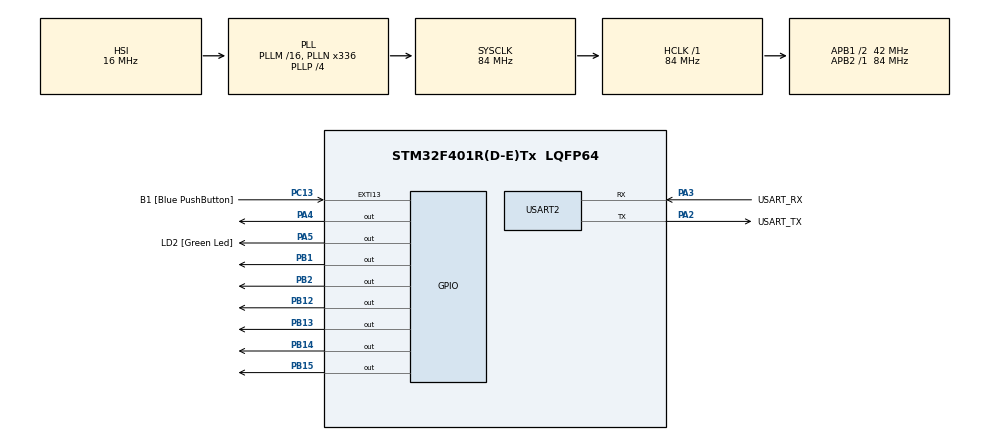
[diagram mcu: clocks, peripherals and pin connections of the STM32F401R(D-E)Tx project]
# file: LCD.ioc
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Mcu.Family=STM32F4
Mcu.Name=STM32F401R(D-E)Tx
Mcu.Package=LQFP64
NVIC.PriorityGroup=NVIC_PRIORITYGROUP_4
PA13.GPIO_Label=TMS
PA13.Mode=Trace_Asynchronous_SW
PA13.Signal=SYS_JTMS-SWDIO
PA14.GPIO_Label=TCK
PA14.Mode=Trace_Asynchronous_SW
PA14.Signal=SYS_JTCK-SWCLK
PA2.GPIO_Label=USART_TX
PA2.GPIO_Mode=GPIO_MODE_AF_PP
PA2.GPIO_PuPd=GPIO_NOPULL
PA2.GPIO_Speed=GPIO_SPEED_FREQ_LOW
PA2.Mode=Asynchronous
PA2.Signal=USART2_TX
PA3.GPIO_Label=USART_RX
PA3.GPIO_Mode=GPIO_MODE_AF_PP
PA3.GPIO_PuPd=GPIO_NOPULL
PA3.GPIO_Speed=GPIO_SPEED_FREQ_LOW
PA3.Mode=Asynchronous
PA3.Signal=USART2_RX
PA4.Signal=GPIO_Output
PA5.GPIO_Label=LD2 [Green Led]
PA5.GPIO_Mode=GPIO_MODE_OUTPUT_PP
PA5.GPIO_PuPd=GPIO_NOPULL
PA5.GPIO_Speed=GPIO_SPEED_FREQ_LOW
PA5.Signal=GPIO_Output
PB1.Signal=GPIO_Output
PB12.Signal=GPIO_Output
PB13.Signal=GPIO_Output
PB14.Signal=GPIO_Output
PB15.Signal=GPIO_Output
PB2.Signal=GPIO_Output
PB3.GPIO_Label=SWO
PB3.Mode=Trace_Asynchronous_SW
PB3.Signal=SYS_JTDO-SWO
PC13-ANTI_TAMP.GPIO_Label=B1 [Blue PushButton]
PC13-ANTI_TAMP.GPIO_ModeDefaultEXTI=GPIO_MODE_IT_FALLING
PC13-ANTI_TAMP.GPIO_PuPd=GPIO_NOPULL
PC13-ANTI_TAMP.Signal=GPXTI13
PC14-OSC32_IN.Mode=LSE-External-Oscillator
PC14-OSC32_IN.Signal=RCC_OSC32_IN
PC15-OSC32_OUT.Mode=LSE-External-Oscillator
PC15-OSC32_OUT.Signal=RCC_OSC32_OUT
PH0\ -\ OSC_IN.Mode=HSE-External-Clock-Source
PH0\ -\ OSC_IN.Signal=RCC_OSC_IN
PH1\ -\ OSC_OUT.Mode=HSE-External-Clock-Source
PH1\ -\ OSC_OUT.Signal=RCC_OSC_OUT
ProjectManager.HeapSize=0x200
ProjectManager.StackSize=0x400
ProjectManager.TargetToolchain=STM32CubeIDE
RCC.48MHZClocksFreq_Value=48000000
RCC.AHBFreq_Value=84000000
RCC.APB1CLKDivider=RCC_HCLK_DIV2
RCC.APB1Freq_Value=42000000
RCC.APB1TimFreq_Value=84000000
RCC.APB2Freq_Value=84000000
RCC.APB2TimFreq_Value=84000000
RCC.CortexFreq_Value=84000000
RCC.HCLKFreq_Value=84000000
RCC.HSE_VALUE=8000000
RCC.HSI_VALUE=16000000
RCC.PLLN=336
RCC.PLLP=RCC_PLLP_DIV4
RCC.PLLQ=7
RCC.SYSCLKFreq_VALUE=84000000
RCC.SYSCLKSource=RCC_SYSCLKSOURCE_PLLCLK
RCC.VCOOutputFreq_Value=336000000
USART2.VirtualMode=VM_ASYNC
board=NUCLEO-F401RE

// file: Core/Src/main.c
/* USER CODE BEGIN Header */
/**
  ******************************************************************************
  * @file           : main.c
  * @brief          : Main program body
  ******************************************************************************
  * @attention
  *
  * Copyright (c) 2025 STMicroelectronics.
  * All rights reserved.
  *
  * This software is licensed under terms that can be found in the LICENSE file
  * in the root directory of this software component.
  * If no LICENSE file comes with this software, it is provided AS-IS.
  *
  ******************************************************************************
  */
/* USER CODE END Header */
#include "main.h"
#include "PMDB16_LCD.h"
#include <string.h>

UART_HandleTypeDef huart2;

void SystemClock_Config(void);
static void MX_GPIO_Init(void);
static void MX_USART2_UART_Init(void);

int main(void)
{

  /* USER CODE BEGIN 1 */
	char nomi[4][20] = {
	    "Mattia",
	    "Pietro",
	    "Lorenzo",
	    "Francesca"
	};
	int i;
  /* USER CODE END 1 */

  /* MCU Configuration--------------------------------------------------------*/

  /* Reset of all peripherals, Initializes the Flash interface and the Systick. */
  HAL_Init();

  /* Configure the system clock */
  SystemClock_Config();

  /* Initialize all configured peripherals */
  MX_GPIO_Init();
  MX_USART2_UART_Init();

  /* Infinite loop */
  /* USER CODE BEGIN WHILE */
  lcd_initialize();
  lcd_backlight_ON();

  while (1)
  {
	 for (i=0; i<4; i++){
		 lcd_println(nomi[i], 0);
		 if (i==3){
			 lcd_println(nomi[0], 1);
		 }
		 else {
			 lcd_println(nomi[i+1], 1);
		 }
		 HAL_Delay(1000);
	 }
    /* USER CODE END WHILE */

  }
}

void SystemClock_Config(void)
{
  RCC_OscInitTypeDef RCC_OscInitStruct = {0};
  RCC_ClkInitTypeDef RCC_ClkInitStruct = {0};

  /** Configure the main internal regulator output voltage
  */
  __HAL_RCC_PWR_CLK_ENABLE();
  __HAL_PWR_VOLTAGESCALING_CONFIG(PWR_REGULATOR_VOLTAGE_SCALE2);

  /** Initializes the RCC Oscillators according to the specified parameters
  * in the RCC_OscInitTypeDef structure.
  */
  RCC_OscInitStruct.OscillatorType = RCC_OSCILLATORTYPE_HSI;
  RCC_OscInitStruct.HSIState = RCC_HSI_ON;
  RCC_OscInitStruct.HSICalibrationValue = RCC_HSICALIBRATION_DEFAULT;
  RCC_OscInitStruct.PLL.PLLState = RCC_PLL_ON;
  RCC_OscInitStruct.PLL.PLLSource = RCC_PLLSOURCE_HSI;
  RCC_OscInitStruct.PLL.PLLM = 16;
  RCC_OscInitStruct.PLL.PLLN = 336;
  RCC_OscInitStruct.PLL.PLLP = RCC_PLLP_DIV4;
  RCC_OscInitStruct.PLL.PLLQ = 7;
  if (HAL_RCC_OscConfig(&RCC_OscInitStruct) != HAL_OK)
  {
    Error_Handler();
  }

  /** Initializes the CPU, AHB and APB buses clocks
  */
  RCC_ClkInitStruct.ClockType = RCC_CLOCKTYPE_HCLK|RCC_CLOCKTYPE_SYSCLK
                              |RCC_CLOCKTYPE_PCLK1|RCC_CLOCKTYPE_PCLK2;
  RCC_ClkInitStruct.SYSCLKSource = RCC_SYSCLKSOURCE_PLLCLK;
  RCC_ClkInitStruct.AHBCLKDivider = RCC_SYSCLK_DIV1;
  RCC_ClkInitStruct.APB1CLKDivider = RCC_HCLK_DIV2;
  RCC_ClkInitStruct.APB2CLKDivider = RCC_HCLK_DIV1;

  if (HAL_RCC_ClockConfig(&RCC_ClkInitStruct, FLASH_LATENCY_2) != HAL_OK)
  {
    Error_Handler();
  }
}

static void MX_USART2_UART_Init(void)
{

  huart2.Instance = USART2;
  huart2.Init.BaudRate = 115200;
  huart2.Init.WordLength = UART_WORDLENGTH_8B;
  huart2.Init.StopBits = UART_STOPBITS_1;
  huart2.Init.Parity = UART_PARITY_NONE;
  huart2.Init.Mode = UART_MODE_TX_RX;
  huart2.Init.HwFlowCtl = UART_HWCONTROL_NONE;
  huart2.Init.OverSampling = UART_OVERSAMPLING_16;
  if (HAL_UART_Init(&huart2) != HAL_OK)
  {
    Error_Handler();
  }

}

static void MX_GPIO_Init(void)
{
  GPIO_InitTypeDef GPIO_InitStruct = {0};

  /* GPIO Ports Clock Enable */
  __HAL_RCC_GPIOC_CLK_ENABLE();
  __HAL_RCC_GPIOH_CLK_ENABLE();
  __HAL_RCC_GPIOA_CLK_ENABLE();
  __HAL_RCC_GPIOB_CLK_ENABLE();

  /*Configure GPIO pin Output Level */
  HAL_GPIO_WritePin(GPIOA, GPIO_PIN_4|LD2_Pin, GPIO_PIN_RESET);

  /*Configure GPIO pin Output Level */
  HAL_GPIO_WritePin(GPIOB, GPIO_PIN_1|GPIO_PIN_2|GPIO_PIN_12|GPIO_PIN_13
                          |GPIO_PIN_14|GPIO_PIN_15, GPIO_PIN_RESET);

  /*Configure GPIO pin : B1_Pin */
  GPIO_InitStruct.Pin = B1_Pin;
  GPIO_InitStruct.Mode = GPIO_MODE_IT_FALLING;
  GPIO_InitStruct.Pull = GPIO_NOPULL;
  HAL_GPIO_Init(B1_GPIO_Port, &GPIO_InitStruct);

  /*Configure GPIO pins : PA4 LD2_Pin */
  GPIO_InitStruct.Pin = GPIO_PIN_4|LD2_Pin;
  GPIO_InitStruct.Mode = GPIO_MODE_OUTPUT_PP;
  GPIO_InitStruct.Pull = GPIO_NOPULL;
  GPIO_InitStruct.Speed = GPIO_SPEED_FREQ_LOW;
  HAL_GPIO_Init(GPIOA, &GPIO_InitStruct);

  /*Configure GPIO pins : PB1 PB2 PB12 PB13
                           PB14 PB15 */
  GPIO_InitStruct.Pin = GPIO_PIN_1|GPIO_PIN_2|GPIO_PIN_12|GPIO_PIN_13
                          |GPIO_PIN_14|GPIO_PIN_15;
  GPIO_InitStruct.Mode = GPIO_MODE_OUTPUT_PP;
  GPIO_InitStruct.Pull = GPIO_NOPULL;
  GPIO_InitStruct.Speed = GPIO_SPEED_FREQ_LOW;
  HAL_GPIO_Init(GPIOB, &GPIO_InitStruct);

}

void Error_Handler(void)
{
  __disable_irq();
  while (1)
  {
  }
}
